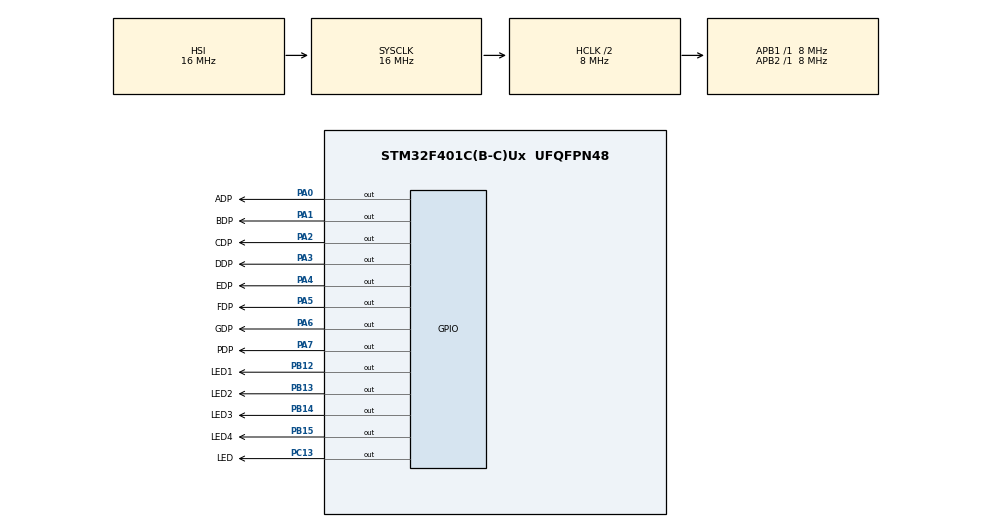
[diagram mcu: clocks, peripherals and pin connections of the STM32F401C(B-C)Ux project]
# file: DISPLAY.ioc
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Mcu.Family=STM32F4
Mcu.Name=STM32F401C(B-C)Ux
Mcu.Package=UFQFPN48
NVIC.PriorityGroup=NVIC_PRIORITYGROUP_4
PA0-WKUP.GPIO_Label=ADP
PA0-WKUP.Signal=GPIO_Output
PA1.GPIO_Label=BDP
PA1.Signal=GPIO_Output
PA2.GPIO_Label=CDP
PA2.Signal=GPIO_Output
PA3.GPIO_Label=DDP
PA3.Signal=GPIO_Output
PA4.GPIO_Label=EDP
PA4.Signal=GPIO_Output
PA5.GPIO_Label=FDP
PA5.Signal=GPIO_Output
PA6.GPIO_Label=GDP
PA6.Signal=GPIO_Output
PA7.GPIO_Label=PDP
PA7.Signal=GPIO_Output
PB12.GPIO_Label=LED1
PB12.Signal=GPIO_Output
PB13.GPIO_Label=LED2
PB13.Signal=GPIO_Output
PB14.GPIO_Label=LED3
PB14.Signal=GPIO_Output
PB15.GPIO_Label=LED4
PB15.Signal=GPIO_Output
PC13-ANTI_TAMP.GPIO_Label=LED
PC13-ANTI_TAMP.Signal=GPIO_Output
PH0\ -\ OSC_IN.Mode=HSE-External-Oscillator
PH0\ -\ OSC_IN.Signal=RCC_OSC_IN
PH1\ -\ OSC_OUT.Mode=HSE-External-Oscillator
PH1\ -\ OSC_OUT.Signal=RCC_OSC_OUT
ProjectManager.HeapSize=0x200
ProjectManager.StackSize=0x400
ProjectManager.TargetToolchain=STM32CubeIDE
RCC.AHBCLKDivider=RCC_SYSCLK_DIV2
RCC.AHBFreq_Value=8000000
RCC.APB1Freq_Value=8000000
RCC.APB1TimFreq_Value=8000000
RCC.APB2Freq_Value=8000000
RCC.APB2TimFreq_Value=8000000
RCC.CortexFreq_Value=8000000
RCC.HCLKFreq_Value=8000000
RCC.HSE_VALUE=25000000
RCC.HSI_VALUE=16000000
RCC.LSE_VALUE=32768
RCC.SYSCLKFreq_VALUE=16000000
RCC.VCOOutputFreq_Value=192000000
board=custom

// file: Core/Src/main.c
/* USER CODE BEGIN Header */
/**
  ******************************************************************************
  * @file           : main.c
  * @brief          : Main program body
  ******************************************************************************
  * @attention
  *
  * Copyright (c) 2023 STMicroelectronics.
  * All rights reserved.
  *
  * This software is licensed under terms that can be found in the LICENSE file
  * in the root directory of this software component.
  * If no LICENSE file comes with this software, it is provided AS-IS.
  *
  ******************************************************************************
  */
/* USER CODE END Header */
#include "main.h"

/* USER CODE BEGIN PD */
#define display ADP_GPIO_Port->ODR
#define  leds  GPIOB->ODR

/* USER CODE END PD */

void SystemClock_Config(void);
static void MX_GPIO_Init(void);
/* USER CODE BEGIN PFP */
void chao()
{
	 display=0x39;  //c
	       HAL_Delay(600);
	       display=118;
	       HAL_Delay(600);
	              display=0b01110111;
	              HAL_Delay(600);
	                     display=0b00111111;
	                     HAL_Delay(600);

}

void baja()
{

    display=0x4F;  //3
   HAL_Delay(600);
   display=0x5B;  //2
   HAL_Delay(600);
    display=0x06;//1
     HAL_Delay(600);

}

void luces1()
{
leds=~leds;
HAL_Delay(200);
leds=~leds;
HAL_Delay(200);
leds=~leds;
HAL_Delay(200);
leds=~leds;
HAL_Delay(200);

}

void luces2()
{
leds=0;//apaga
HAL_Delay(200);
GPIOB->BSRR=LED1_Pin;
HAL_Delay(200);
GPIOB->BSRR=LED2_Pin;
HAL_Delay(200);
GPIOB->BSRR=LED3_Pin;
HAL_Delay(200);
GPIOB->BSRR=LED4_Pin;
HAL_Delay(200);
}

void luces3(uint16_t velosu,uint16_t veloba)
{
leds=0;//apaga
HAL_Delay(velosu);
GPIOB->BSRR=LED1_Pin;
HAL_Delay(velosu);
GPIOB->BSRR=LED2_Pin;
HAL_Delay(velosu);
GPIOB->BSRR=LED3_Pin;
HAL_Delay(velosu);
GPIOB->BSRR=LED4_Pin;
HAL_Delay(velosu);

//apaga sntido inverso
GPIOB->BSRR |=LED4_Pin<<16;
HAL_Delay(veloba);
GPIOB->BSRR |=LED3_Pin<<16;
HAL_Delay(veloba);
GPIOB->BSRR|=LED2_Pin<<16;
HAL_Delay(veloba);
GPIOB->BSRR |=LED1_Pin<<16;
HAL_Delay(veloba);

}

/* USER CODE END PFP */

int main(void)
{

  /* MCU Configuration--------------------------------------------------------*/

  /* Reset of all peripherals, Initializes the Flash interface and the Systick. */
  HAL_Init();

  /* Configure the system clock */
  SystemClock_Config();

  /* Initialize all configured peripherals */
  MX_GPIO_Init();

  /* Infinite loop */
  /* USER CODE BEGIN WHILE */
  while (1)
  {
	   HAL_GPIO_TogglePin(LED_GPIO_Port, LED_Pin);
	   HAL_Delay(500);
         luces1();
         luces3(200,100);
         luces3(100,200);
         luces3(80,500);

         chao();
	     chao();
	     baja();

	  /*
	   HAL_GPIO_WritePin(ADP_GPIO_Port, ADP_Pin, 0);
	   HAL_GPIO_WritePin(ADP_GPIO_Port, BDP_Pin, 1);
	   HAL_GPIO_WritePin(ADP_GPIO_Port, CDP_Pin, 1);
	   HAL_GPIO_WritePin(ADP_GPIO_Port, DDP_Pin, 0);
	   HAL_GPIO_WritePin(ADP_GPIO_Port, EDP_Pin, 0);
	   HAL_GPIO_WritePin(ADP_GPIO_Port, FDP_Pin, 0);
	   HAL_GPIO_WritePin(ADP_GPIO_Port, GDP_Pin, 0);
	   HAL_GPIO_WritePin(ADP_GPIO_Port, PDP_Pin, 0);
*/
	   //         PGFEDCBA
     // GPIOA->ODR=0B0000110;

    /* USER CODE END WHILE */

  }
}

void SystemClock_Config(void)
{
  RCC_OscInitTypeDef RCC_OscInitStruct = {0};
  RCC_ClkInitTypeDef RCC_ClkInitStruct = {0};

  /** Configure the main internal regulator output voltage
  */
  __HAL_RCC_PWR_CLK_ENABLE();
  __HAL_PWR_VOLTAGESCALING_CONFIG(PWR_REGULATOR_VOLTAGE_SCALE2);

  /** Initializes the RCC Oscillators according to the specified parameters
  * in the RCC_OscInitTypeDef structure.
  */
  RCC_OscInitStruct.OscillatorType = RCC_OSCILLATORTYPE_HSI;
  RCC_OscInitStruct.HSIState = RCC_HSI_ON;
  RCC_OscInitStruct.HSICalibrationValue = RCC_HSICALIBRATION_DEFAULT;
  RCC_OscInitStruct.PLL.PLLState = RCC_PLL_NONE;
  if (HAL_RCC_OscConfig(&RCC_OscInitStruct) != HAL_OK)
  {
    Error_Handler();
  }

  /** Initializes the CPU, AHB and APB buses clocks
  */
  RCC_ClkInitStruct.ClockType = RCC_CLOCKTYPE_HCLK|RCC_CLOCKTYPE_SYSCLK
                              |RCC_CLOCKTYPE_PCLK1|RCC_CLOCKTYPE_PCLK2;
  RCC_ClkInitStruct.SYSCLKSource = RCC_SYSCLKSOURCE_HSI;
  RCC_ClkInitStruct.AHBCLKDivider = RCC_SYSCLK_DIV2;
  RCC_ClkInitStruct.APB1CLKDivider = RCC_HCLK_DIV1;
  RCC_ClkInitStruct.APB2CLKDivider = RCC_HCLK_DIV1;

  if (HAL_RCC_ClockConfig(&RCC_ClkInitStruct, FLASH_LATENCY_0) != HAL_OK)
  {
    Error_Handler();
  }
}

static void MX_GPIO_Init(void)
{
  GPIO_InitTypeDef GPIO_InitStruct = {0};

  /* GPIO Ports Clock Enable */
  __HAL_RCC_GPIOC_CLK_ENABLE();
  __HAL_RCC_GPIOH_CLK_ENABLE();
  __HAL_RCC_GPIOA_CLK_ENABLE();
  __HAL_RCC_GPIOB_CLK_ENABLE();

  /*Configure GPIO pin Output Level */
  HAL_GPIO_WritePin(LED_GPIO_Port, LED_Pin, GPIO_PIN_RESET);

  /*Configure GPIO pin Output Level */
  HAL_GPIO_WritePin(GPIOA, ADP_Pin|BDP_Pin|CDP_Pin|DDP_Pin
                          |EDP_Pin|FDP_Pin|GDP_Pin|PDP_Pin, GPIO_PIN_RESET);

  /*Configure GPIO pin Output Level */
  HAL_GPIO_WritePin(GPIOB, LED1_Pin|LED2_Pin|LED3_Pin|LED4_Pin, GPIO_PIN_RESET);

  /*Configure GPIO pin : LED_Pin */
  GPIO_InitStruct.Pin = LED_Pin;
  GPIO_InitStruct.Mode = GPIO_MODE_OUTPUT_PP;
  GPIO_InitStruct.Pull = GPIO_NOPULL;
  GPIO_InitStruct.Speed = GPIO_SPEED_FREQ_LOW;
  HAL_GPIO_Init(LED_GPIO_Port, &GPIO_InitStruct);

  /*Configure GPIO pins : ADP_Pin BDP_Pin CDP_Pin DDP_Pin
                           EDP_Pin FDP_Pin GDP_Pin PDP_Pin */
  GPIO_InitStruct.Pin = ADP_Pin|BDP_Pin|CDP_Pin|DDP_Pin
                          |EDP_Pin|FDP_Pin|GDP_Pin|PDP_Pin;
  GPIO_InitStruct.Mode = GPIO_MODE_OUTPUT_PP;
  GPIO_InitStruct.Pull = GPIO_NOPULL;
  GPIO_InitStruct.Speed = GPIO_SPEED_FREQ_LOW;
  HAL_GPIO_Init(GPIOA, &GPIO_InitStruct);

  /*Configure GPIO pins : LED1_Pin LED2_Pin LED3_Pin LED4_Pin */
  GPIO_InitStruct.Pin = LED1_Pin|LED2_Pin|LED3_Pin|LED4_Pin;
  GPIO_InitStruct.Mode = GPIO_MODE_OUTPUT_PP;
  GPIO_InitStruct.Pull = GPIO_NOPULL;
  GPIO_InitStruct.Speed = GPIO_SPEED_FREQ_LOW;
  HAL_GPIO_Init(GPIOB, &GPIO_InitStruct);

}

/* USER CODE END 4 */

void Error_Handler(void)
{
  __disable_irq();
  while (1)
  {
  }
}
